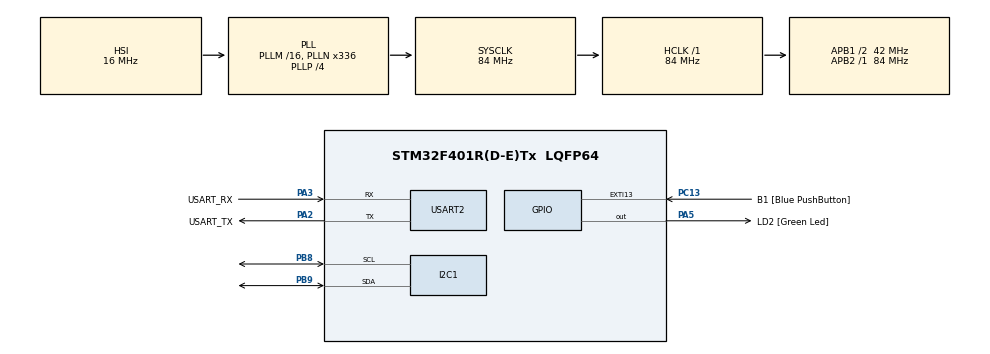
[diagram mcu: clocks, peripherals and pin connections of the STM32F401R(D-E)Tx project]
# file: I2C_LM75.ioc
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Dma.I2C1_RX.0.Direction=DMA_PERIPH_TO_MEMORY
Dma.I2C1_RX.0.FIFOMode=DMA_FIFOMODE_DISABLE
Dma.I2C1_RX.0.Instance=DMA1_Stream0
Dma.I2C1_RX.0.MemDataAlignment=DMA_MDATAALIGN_BYTE
Dma.I2C1_RX.0.MemInc=DMA_MINC_ENABLE
Dma.I2C1_RX.0.Mode=DMA_NORMAL
Dma.I2C1_RX.0.PeriphDataAlignment=DMA_PDATAALIGN_BYTE
Dma.I2C1_RX.0.PeriphInc=DMA_PINC_DISABLE
Dma.I2C1_RX.0.Priority=DMA_PRIORITY_LOW
Dma.Request0=I2C1_RX
Dma.Request1=USART2_TX
Dma.USART2_TX.1.Direction=DMA_MEMORY_TO_PERIPH
Dma.USART2_TX.1.FIFOMode=DMA_FIFOMODE_DISABLE
Dma.USART2_TX.1.Instance=DMA1_Stream6
Dma.USART2_TX.1.MemDataAlignment=DMA_MDATAALIGN_BYTE
Dma.USART2_TX.1.MemInc=DMA_MINC_ENABLE
Dma.USART2_TX.1.Mode=DMA_NORMAL
Dma.USART2_TX.1.PeriphDataAlignment=DMA_PDATAALIGN_BYTE
Dma.USART2_TX.1.PeriphInc=DMA_PINC_DISABLE
Dma.USART2_TX.1.Priority=DMA_PRIORITY_LOW
Mcu.Family=STM32F4
Mcu.Name=STM32F401R(D-E)Tx
Mcu.Package=LQFP64
NVIC.DMA1_Stream0_IRQn=true\:0\:0\:false\:false\:true\:false\:true\:true
NVIC.DMA1_Stream6_IRQn=true\:0\:0\:false\:false\:true\:false\:true\:true
NVIC.I2C1_ER_IRQn=true\:0\:0\:false\:false\:true\:true\:true\:true
NVIC.I2C1_EV_IRQn=true\:0\:0\:false\:false\:true\:true\:true\:true
NVIC.PriorityGroup=NVIC_PRIORITYGROUP_0
NVIC.TIM2_IRQn=true\:0\:0\:false\:false\:true\:true\:true\:true
NVIC.USART2_IRQn=true\:0\:0\:false\:false\:true\:true\:true\:true
PA13.GPIO_Label=TMS
PA13.Mode=Serial_Wire
PA13.Signal=SYS_JTMS-SWDIO
PA14.GPIO_Label=TCK
PA14.Mode=Serial_Wire
PA14.Signal=SYS_JTCK-SWCLK
PA2.GPIO_Label=USART_TX
PA2.GPIO_Mode=GPIO_MODE_AF_PP
PA2.GPIO_PuPd=GPIO_NOPULL
PA2.GPIO_Speed=GPIO_SPEED_FREQ_LOW
PA2.Mode=Asynchronous
PA2.Signal=USART2_TX
PA3.GPIO_Label=USART_RX
PA3.GPIO_Mode=GPIO_MODE_AF_PP
PA3.GPIO_PuPd=GPIO_NOPULL
PA3.GPIO_Speed=GPIO_SPEED_FREQ_LOW
PA3.Mode=Asynchronous
PA3.Signal=USART2_RX
PA5.GPIO_Label=LD2 [Green Led]
PA5.GPIO_Mode=GPIO_MODE_OUTPUT_PP
PA5.GPIO_PuPd=GPIO_NOPULL
PA5.GPIO_Speed=GPIO_SPEED_FREQ_LOW
PA5.Signal=GPIO_Output
PB3.GPIO_Label=SWO
PB3.Signal=SYS_JTDO-SWO
PB8.Mode=I2C
PB8.Signal=I2C1_SCL
PB9.Mode=I2C
PB9.Signal=I2C1_SDA
PC13-ANTI_TAMP.GPIO_Label=B1 [Blue PushButton]
PC13-ANTI_TAMP.GPIO_ModeDefaultEXTI=GPIO_MODE_IT_FALLING
PC13-ANTI_TAMP.GPIO_PuPd=GPIO_NOPULL
PC13-ANTI_TAMP.Signal=GPXTI13
PC14-OSC32_IN.Mode=LSE-External-Oscillator
PC14-OSC32_IN.Signal=RCC_OSC32_IN
PC15-OSC32_OUT.Mode=LSE-External-Oscillator
PC15-OSC32_OUT.Signal=RCC_OSC32_OUT
PH0\ -\ OSC_IN.Mode=HSE-External-Clock-Source
PH0\ -\ OSC_IN.Signal=RCC_OSC_IN
PH1\ -\ OSC_OUT.Mode=HSE-External-Clock-Source
PH1\ -\ OSC_OUT.Signal=RCC_OSC_OUT
ProjectManager.HeapSize=0x200
ProjectManager.StackSize=0x400
ProjectManager.TargetToolchain=STM32CubeIDE
RCC.48MHZClocksFreq_Value=48000000
RCC.AHBFreq_Value=84000000
RCC.APB1CLKDivider=RCC_HCLK_DIV2
RCC.APB1Freq_Value=42000000
RCC.APB1TimFreq_Value=84000000
RCC.APB2Freq_Value=84000000
RCC.APB2TimFreq_Value=84000000
RCC.CortexFreq_Value=84000000
RCC.HCLKFreq_Value=84000000
RCC.HSE_VALUE=8000000
RCC.HSI_VALUE=16000000
RCC.PLLN=336
RCC.PLLP=RCC_PLLP_DIV4
RCC.PLLQ=7
RCC.SYSCLKFreq_VALUE=84000000
RCC.SYSCLKSource=RCC_SYSCLKSOURCE_PLLCLK
RCC.VCOOutputFreq_Value=336000000
TIM2.Period=(TEMPO*10) - 1
TIM2.Prescaler=8400 - 1
USART2.VirtualMode=VM_ASYNC
VP_TIM2_VS_ClockSourceINT.Mode=Internal
board=NUCLEO-F401RE

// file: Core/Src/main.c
/* USER CODE BEGIN Header */
/**
  ******************************************************************************
  * @file           : main.c
  * @brief          : Main program body
  ******************************************************************************
  * @attention
  *
  * Copyright (c) 2024 STMicroelectronics.
  * All rights reserved.
  *
  * This software is licensed under terms that can be found in the LICENSE file
  * in the root directory of this software component.
  * If no LICENSE file comes with this software, it is provided AS-IS.
  *
  ******************************************************************************
  */
/* USER CODE END Header */
#include "main.h"

/* USER CODE BEGIN PD */
#define TEMPO 1000
/* USER CODE END PD */

I2C_HandleTypeDef hi2c1;
DMA_HandleTypeDef hdma_i2c1_rx;

TIM_HandleTypeDef htim2;

UART_HandleTypeDef huart2;
DMA_HandleTypeDef hdma_usart2_tx;

/* USER CODE BEGIN PV */
uint16_t LM75_WR_ADDRESS = 0b10010000; //LM75 write address
uint16_t LM75_RD_ADDRESS = 0b10010001; //LM75 read address
uint16_t LM75_REGISTER   = 0x00;       //Address where the LM75 temperature value can be found

uint8_t Rx_data[6];

char    string[32]		= {0};

int16_t temperature 	= 0;
float   out_temperature = 0;

int length = 0;

/* USER CODE END PV */

void SystemClock_Config(void);
static void MX_GPIO_Init(void);
static void MX_DMA_Init(void);
static void MX_USART2_UART_Init(void);
static void MX_I2C1_Init(void);
static void MX_TIM2_Init(void);

/* USER CODE BEGIN 0 */

void HAL_I2C_MasterRxCpltCallback(I2C_HandleTypeDef *hi2c)
{
	if(hi2c == &hi2c1)
	{

		// ---------------- LM75A Sensor code ----------------- //

		temperature = Rx_data[0] << 8 | Rx_data[1];

		// --------------------------------------------------- //

		// ---------------- LM75B Sensor code ----------------- //

		/*
		if(Rx_data[0] == Rx_data[2] && Rx_data[1] == Rx_data[3])
		{
			temperature = (Rx_data[0] << 8) | Rx_data[1];
		}
		else
		{
			temperature = (Rx_data[4] << 8) | Rx_data[5];
		}
		*/

		// --------------------------------------------------- //

		out_temperature = temperature/256.0;

		length = snprintf(string, sizeof(string), "Temperature: %.3f %cC \n", out_temperature, 176);
		HAL_UART_Transmit_DMA(&huart2, string, length);
	}

}

void HAL_TIM_PeriodElapsedCallback(TIM_HandleTypeDef *htim)
{
	if(htim == &htim2)
	{
		HAL_I2C_Master_Receive_DMA(&hi2c1, LM75_RD_ADDRESS, Rx_data, 2); //LM75A
		//HAL_I2C_Master_Receive_DMA(&hi2c1, LM75_RD_ADDRESS, Rx_data, 6); //LM75B

	}
}
/* USER CODE END 0 */

int main(void)
{

  /* MCU Configuration--------------------------------------------------------*/

  /* Reset of all peripherals, Initializes the Flash interface and the Systick. */
  HAL_Init();

  /* Configure the system clock */
  SystemClock_Config();

  /* Initialize all configured peripherals */
  MX_GPIO_Init();
  MX_DMA_Init();
  MX_USART2_UART_Init();
  MX_I2C1_Init();
  MX_TIM2_Init();
  /* USER CODE BEGIN 2 */

  HAL_I2C_Master_Transmit(&hi2c1, LM75_WR_ADDRESS, &LM75_REGISTER, 2, 10);
  HAL_TIM_Base_Start_IT(&htim2);

  /* USER CODE END 2 */

  /* Infinite loop */
  while (1)
  {

  }
}

void SystemClock_Config(void)
{
  RCC_OscInitTypeDef RCC_OscInitStruct = {0};
  RCC_ClkInitTypeDef RCC_ClkInitStruct = {0};

  /** Configure the main internal regulator output voltage
  */
  __HAL_RCC_PWR_CLK_ENABLE();
  __HAL_PWR_VOLTAGESCALING_CONFIG(PWR_REGULATOR_VOLTAGE_SCALE2);

  /** Initializes the RCC Oscillators according to the specified parameters
  * in the RCC_OscInitTypeDef structure.
  */
  RCC_OscInitStruct.OscillatorType = RCC_OSCILLATORTYPE_HSI;
  RCC_OscInitStruct.HSIState = RCC_HSI_ON;
  RCC_OscInitStruct.HSICalibrationValue = RCC_HSICALIBRATION_DEFAULT;
  RCC_OscInitStruct.PLL.PLLState = RCC_PLL_ON;
  RCC_OscInitStruct.PLL.PLLSource = RCC_PLLSOURCE_HSI;
  RCC_OscInitStruct.PLL.PLLM = 16;
  RCC_OscInitStruct.PLL.PLLN = 336;
  RCC_OscInitStruct.PLL.PLLP = RCC_PLLP_DIV4;
  RCC_OscInitStruct.PLL.PLLQ = 7;
  if (HAL_RCC_OscConfig(&RCC_OscInitStruct) != HAL_OK)
  {
    Error_Handler();
  }

  /** Initializes the CPU, AHB and APB buses clocks
  */
  RCC_ClkInitStruct.ClockType = RCC_CLOCKTYPE_HCLK|RCC_CLOCKTYPE_SYSCLK
                              |RCC_CLOCKTYPE_PCLK1|RCC_CLOCKTYPE_PCLK2;
  RCC_ClkInitStruct.SYSCLKSource = RCC_SYSCLKSOURCE_PLLCLK;
  RCC_ClkInitStruct.AHBCLKDivider = RCC_SYSCLK_DIV1;
  RCC_ClkInitStruct.APB1CLKDivider = RCC_HCLK_DIV2;
  RCC_ClkInitStruct.APB2CLKDivider = RCC_HCLK_DIV1;

  if (HAL_RCC_ClockConfig(&RCC_ClkInitStruct, FLASH_LATENCY_2) != HAL_OK)
  {
    Error_Handler();
  }
}

static void MX_I2C1_Init(void)
{

  hi2c1.Instance = I2C1;
  hi2c1.Init.ClockSpeed = 100000;
  hi2c1.Init.DutyCycle = I2C_DUTYCYCLE_2;
  hi2c1.Init.OwnAddress1 = 0;
  hi2c1.Init.AddressingMode = I2C_ADDRESSINGMODE_7BIT;
  hi2c1.Init.DualAddressMode = I2C_DUALADDRESS_DISABLE;
  hi2c1.Init.OwnAddress2 = 0;
  hi2c1.Init.GeneralCallMode = I2C_GENERALCALL_DISABLE;
  hi2c1.Init.NoStretchMode = I2C_NOSTRETCH_DISABLE;
  if (HAL_I2C_Init(&hi2c1) != HAL_OK)
  {
    Error_Handler();
  }

}

static void MX_TIM2_Init(void)
{

  TIM_ClockConfigTypeDef sClockSourceConfig = {0};
  TIM_MasterConfigTypeDef sMasterConfig = {0};

  htim2.Instance = TIM2;
  htim2.Init.Prescaler = 8400 - 1;
  htim2.Init.CounterMode = TIM_COUNTERMODE_UP;
  htim2.Init.Period = (TEMPO*10) - 1;
  htim2.Init.ClockDivision = TIM_CLOCKDIVISION_DIV1;
  htim2.Init.AutoReloadPreload = TIM_AUTORELOAD_PRELOAD_DISABLE;
  if (HAL_TIM_Base_Init(&htim2) != HAL_OK)
  {
    Error_Handler();
  }
  sClockSourceConfig.ClockSource = TIM_CLOCKSOURCE_INTERNAL;
  if (HAL_TIM_ConfigClockSource(&htim2, &sClockSourceConfig) != HAL_OK)
  {
    Error_Handler();
  }
  sMasterConfig.MasterOutputTrigger = TIM_TRGO_RESET;
  sMasterConfig.MasterSlaveMode = TIM_MASTERSLAVEMODE_DISABLE;
  if (HAL_TIMEx_MasterConfigSynchronization(&htim2, &sMasterConfig) != HAL_OK)
  {
    Error_Handler();
  }

}

static void MX_USART2_UART_Init(void)
{

  huart2.Instance = USART2;
  huart2.Init.BaudRate = 115200;
  huart2.Init.WordLength = UART_WORDLENGTH_8B;
  huart2.Init.StopBits = UART_STOPBITS_1;
  huart2.Init.Parity = UART_PARITY_NONE;
  huart2.Init.Mode = UART_MODE_TX_RX;
  huart2.Init.HwFlowCtl = UART_HWCONTROL_NONE;
  huart2.Init.OverSampling = UART_OVERSAMPLING_16;
  if (HAL_UART_Init(&huart2) != HAL_OK)
  {
    Error_Handler();
  }

}

static void MX_DMA_Init(void)
{

  /* DMA controller clock enable */
  __HAL_RCC_DMA1_CLK_ENABLE();

  /* DMA interrupt init */
  /* DMA1_Stream0_IRQn interrupt configuration */
  HAL_NVIC_SetPriority(DMA1_Stream0_IRQn, 0, 0);
  HAL_NVIC_EnableIRQ(DMA1_Stream0_IRQn);
  /* DMA1_Stream6_IRQn interrupt configuration */
  HAL_NVIC_SetPriority(DMA1_Stream6_IRQn, 0, 0);
  HAL_NVIC_EnableIRQ(DMA1_Stream6_IRQn);

}

static void MX_GPIO_Init(void)
{
  GPIO_InitTypeDef GPIO_InitStruct = {0};

  /* GPIO Ports Clock Enable */
  __HAL_RCC_GPIOC_CLK_ENABLE();
  __HAL_RCC_GPIOH_CLK_ENABLE();
  __HAL_RCC_GPIOA_CLK_ENABLE();
  __HAL_RCC_GPIOB_CLK_ENABLE();

  /*Configure GPIO pin Output Level */
  HAL_GPIO_WritePin(LD2_GPIO_Port, LD2_Pin, GPIO_PIN_RESET);

  /*Configure GPIO pin : B1_Pin */
  GPIO_InitStruct.Pin = B1_Pin;
  GPIO_InitStruct.Mode = GPIO_MODE_IT_FALLING;
  GPIO_InitStruct.Pull = GPIO_NOPULL;
  HAL_GPIO_Init(B1_GPIO_Port, &GPIO_InitStruct);

  /*Configure GPIO pin : LD2_Pin */
  GPIO_InitStruct.Pin = LD2_Pin;
  GPIO_InitStruct.Mode = GPIO_MODE_OUTPUT_PP;
  GPIO_InitStruct.Pull = GPIO_NOPULL;
  GPIO_InitStruct.Speed = GPIO_SPEED_FREQ_LOW;
  HAL_GPIO_Init(LD2_GPIO_Port, &GPIO_InitStruct);

}

void Error_Handler(void)
{
  __disable_irq();
  while (1)
  {
  }
}
